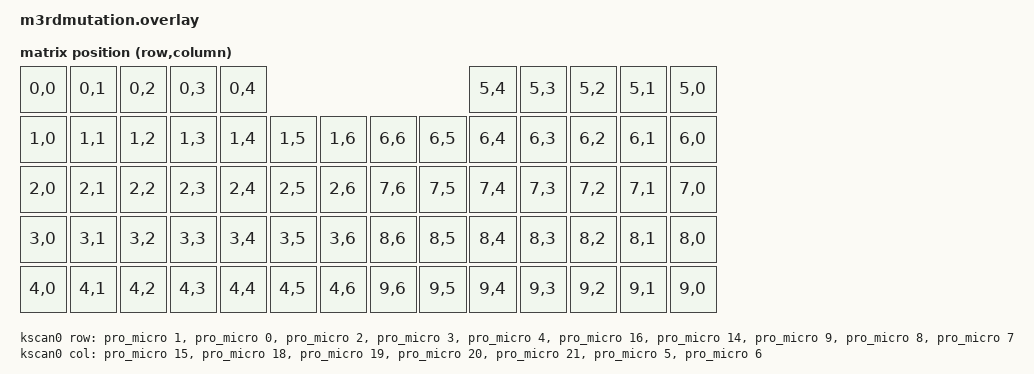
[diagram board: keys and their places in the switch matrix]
#include <dt-bindings/zmk/matrix_transform.h>
#include <dt-bindings/zmk/status.h>

/ {



    chosen {
        zmk,underglow = &led_strip;
        zmk,kscan = &kscan0;
        zmk,matrix-transform = &default_transform;
    };

    mod_status_leds {
        compatible = "zmk,mod-status-leds";

        // ------------------------------------------------------------------
        // INDICATEUR DE STATUT POUR LE LAYER 1 (Layer Nav)
        // ------------------------------------------------------------------
        layer1_mod_status: layer1_mod_status {
            label = "Layer 1 Status";
            layers = <1>;           // Surveille le Layer ID 1
            led = <&led_strip 0>;   // Utilise la PREMIÈRE LED (Index 0)
            color = <0x99CCFF>;     // Couleur : Bleu
        };

        // ------------------------------------------------------------------
        // INDICATEUR DE STATUT POUR LE LAYER 2 (Layer Num)
        // ------------------------------------------------------------------
        layer2_mod_status: layer2_mod_status {
            label = "Layer 2 Status";
            layers = <2>;           // Surveille le Layer ID 2
            led = <&led_strip 1>;   // Utilise la DEUXIÈME LED (Index 1)
            color = <0x99CCFF>;     // Couleur : Bleu
        };

        // ------------------------------------------------------------------
        // INDICATEUR DE STATUT POUR LE LAYER 3 (Layer Mouse)
        // ------------------------------------------------------------------
        layer3_mod_status: layer3_mod_status {
            label = "Layer 3 Status";
            layers = <3>;           // Surveille le Layer ID 3
            led = <&led_strip 2>;   // Utilise la TROISIÈME LED (Index 2)
            color = <0x99CCFF>;     // Couleur : Bleu
        };

        // ------------------------------------------------------------------
        // Alerte de batterie
        // ------------------------------------------------------------------

        battery_alert_led2: battery_alert_led2 {
            type = "battery-status";
            status = <ZMK_STATUS_CODE_CRITICAL>;
            led = <&led_strip 2>;
            color = <0xFF0000>;
            blink-interval-ms = <30000>;
        };
    };

    default_transform: keymap_transform0 {
        compatible = "zmk,matrix-transform";
        columns = <7>; 
        rows = <5>; 

        map = <        
            RC(0,0) RC(0,1) RC(0,2) RC(0,3) RC(0,4)                                       RC(5,4) RC(5,3) RC(5,2) RC(5,1) RC(5,0)
            RC(1,0) RC(1,1) RC(1,2) RC(1,3) RC(1,4)    RC(1,5) RC(1,6) RC(6,6) RC(6,5)    RC(6,4) RC(6,3) RC(6,2) RC(6,1) RC(6,0)
            RC(2,0) RC(2,1) RC(2,2) RC(2,3) RC(2,4)    RC(2,5) RC(2,6) RC(7,6) RC(7,5)    RC(7,4) RC(7,3) RC(7,2) RC(7,1) RC(7,0)    
            RC(3,0) RC(3,1) RC(3,2) RC(3,3) RC(3,4)    RC(3,5) RC(3,6) RC(8,6) RC(8,5)    RC(8,4) RC(8,3) RC(8,2) RC(8,1) RC(8,0)    
            RC(4,0) RC(4,1) RC(4,2) RC(4,3) RC(4,4)    RC(4,5) RC(4,6) RC(9,6) RC(9,5)    RC(9,4) RC(9,3) RC(9,2) RC(9,1) RC(9,0)
        >;
    };
    kscan0: kscan0 {
        compatible = "zmk,kscan-gpio-matrix";
        diode-direction = "col2row";
        wakeup-source;

        col-gpios
            = <&pro_micro 15 GPIO_ACTIVE_HIGH>
            , <&pro_micro 18 GPIO_ACTIVE_HIGH>
            , <&pro_micro 19 GPIO_ACTIVE_HIGH>
            , <&pro_micro 20 GPIO_ACTIVE_HIGH>
            , <&pro_micro 21 GPIO_ACTIVE_HIGH>
            , <&pro_micro 5 GPIO_ACTIVE_HIGH>
            , <&pro_micro 6 GPIO_ACTIVE_HIGH>
            ;

        row-gpios
            = <&pro_micro 1 (GPIO_ACTIVE_HIGH | GPIO_PULL_DOWN)>
            , <&pro_micro 0 (GPIO_ACTIVE_HIGH | GPIO_PULL_DOWN)>
            , <&pro_micro 2 (GPIO_ACTIVE_HIGH | GPIO_PULL_DOWN)>
            , <&pro_micro 3 (GPIO_ACTIVE_HIGH | GPIO_PULL_DOWN)>
            , <&pro_micro 4 (GPIO_ACTIVE_HIGH | GPIO_PULL_DOWN)>
            , <&pro_micro 16 (GPIO_ACTIVE_HIGH | GPIO_PULL_DOWN)>
            , <&pro_micro 14 (GPIO_ACTIVE_HIGH | GPIO_PULL_DOWN)>
            , <&pro_micro 9 (GPIO_ACTIVE_HIGH | GPIO_PULL_DOWN)>
            , <&pro_micro 8 (GPIO_ACTIVE_HIGH | GPIO_PULL_DOWN)>
            , <&pro_micro 7 (GPIO_ACTIVE_HIGH | GPIO_PULL_DOWN)>
            ;
    };
};
